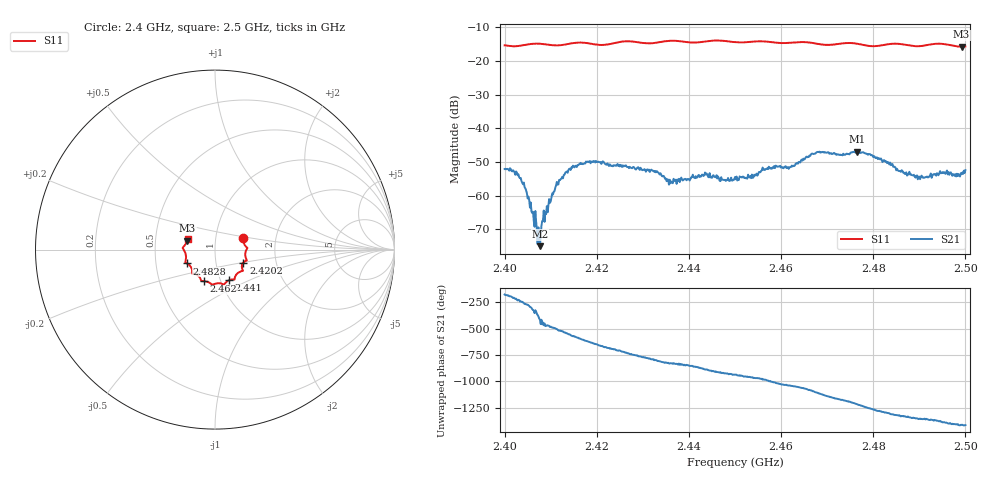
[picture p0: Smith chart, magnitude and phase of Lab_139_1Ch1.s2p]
# Hz S RI R 50
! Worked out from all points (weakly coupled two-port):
!   601 points, 2.4 GHz to 2.5 GHz, reference 50 ohm
!   highest |S21| = -46.91 dB at 2.4765 GHz (marker M1); lowest = -75.0 dB at 2.4077 GHz (marker M2)
!   lowest |S11| = -15.8 dB at 2.4992 GHz (marker M3), VSWR 1.39, Z = 36.4 + j3.73 ohm
!   |S11| at or under -10 dB: start of sweep to end of sweep
!   S12 and S22 are empty: the file has one direction only
!   S11 on the Smith chart (normalised r, x): 2.4 GHz: 1.36, +0.17; 2.4202 GHz: 1.36, -0.20; 2.441 GHz: 1.10, -0.39; 2.462 GHz: 0.84, -0.30; 2.4828 GHz: 0.72, -0.11; 2.5 GHz: 0.73, +0.09
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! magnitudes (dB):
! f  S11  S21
! 2.4 GHz  -15.4  -52.1
! 2.4022 GHz  -15.7  -53.1
! 2.4038 GHz  -15.4  -56.2
! 2.4073 GHz  -14.9  -69.4
! 2.4077 GHz  -14.9  -75.0
! 2.4087 GHz  -15.0  -67.8
! 2.4115 GHz  -15.4  -56.7
! 2.4143 GHz  -14.8  -52.4
! 2.4167 GHz  -14.6  -50.6
! 2.4202 GHz  -15.2  -50.0
! 2.4333 GHz  -14.5  -53.1
! 2.436 GHz  -14.0  -56.3
! 2.441 GHz  -14.6  -54.4
! 2.45 GHz  -14.4  -54.5
! 2.462 GHz  -14.6  -51.5
! 2.4667 GHz  -14.6  -47.5
! 2.4765 GHz  -14.9  -46.9
! 2.4828 GHz  -15.1  -49.8
! 2.4833 GHz  -15.0  -50.1
! 2.4897 GHz  -15.6  -55.1
! 2.4992 GHz  -15.8  -53.6
! 2.5 GHz  -15.7  -52.4
